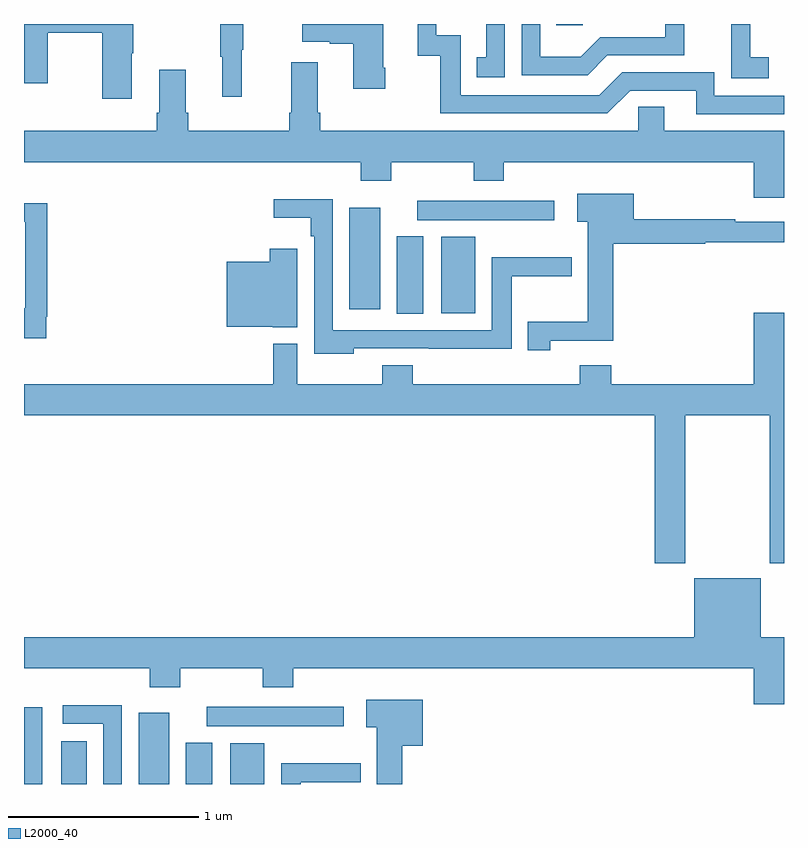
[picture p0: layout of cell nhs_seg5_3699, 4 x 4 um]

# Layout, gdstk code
import gdstk
lib = gdstk.Library(unit=1e-6, precision=1e-09)
def R(c, l, rs):  # rectangles x0, y0, x1, y1
    for r in rs: c.add(gdstk.rectangle(r[:2], r[2:], *l))
def P(c, l, *ps):  # polygons
    for p in ps: c.add(gdstk.Polygon(p, *l))
L2000_40 = (2000, 40)

nhs_seg5_3699 = lib.new_cell('nhs_seg5_3699')
R(nhs_seg5_3699, L2000_40, [(329.195,874.799,329.329,875.023), (329.603,874.799,329.764,875.173), (329.852,874.799,329.992,875.017), (330.086,874.799,330.265,875.014), (329.961,875.102,330.682,875.206), (330.962,877.273,331.102,877.681), (331.196,877.277,331.375,877.678), (330.713,877.299,330.874,877.831), (331.071,877.766,331.792,877.87), (331.801,878.793,331.941,878.799)])
P(nhs_seg5_3699, L2000_40, [(332.92,878.623),(332.822,878.623),(332.822,878.799),(332.723,878.799),(332.723,878.719),(332.722,878.719),(332.722,878.513),(332.92,878.513)],
  [(333,878.421),(332.634,878.421),(332.634,878.544),(332.148,878.544),(332.028,878.424),(331.299,878.424),(331.299,878.739),(331.17,878.739),(331.17,878.799),(331.073,878.799),(331.073,878.631),(331.191,878.631),(331.191,878.328),(332.07,878.328),(332.19,878.448),(332.537,878.448),(332.537,878.325),(333,878.325)],
  [(330.146,878.664),(330.154,878.664),(330.154,878.799),(330.033,878.799),(330.033,878.627),(330.044,878.627),(330.044,878.415),(330.146,878.415)],
  [(332.071,878.634),(332.475,878.634),(332.475,878.799),(332.376,878.799),(332.376,878.73),(332.034,878.73),(331.93,878.626),(331.716,878.626),(331.716,878.799),(331.62,878.799),(331.62,878.529),(331.966,878.529)],
  [(329.566,878.644),(329.574,878.644),(329.574,878.799),(329,878.799),(329,878.487),(329.124,878.487),(329.124,878.752),(329.413,878.752),(329.413,878.406),(329.566,878.406)],
  [(330.9,878.569),(330.892,878.569),(330.892,878.799),(330.465,878.799),(330.465,878.705),(330.608,878.705),(330.608,878.695),(330.734,878.695),(330.734,878.457),(330.9,878.457)],
  [(331.53,878.799),(331.433,878.799),(331.433,878.625),(331.384,878.625),(331.384,878.52),(331.53,878.52)],
  [(333,878.236),(332.371,878.236),(332.371,878.363),(332.232,878.363),(332.232,878.236),(330.56,878.236),(330.56,878.332),(330.547,878.332),(330.547,878.599),(330.407,878.599),(330.407,878.332),(330.395,878.332),(330.395,878.236),(329.864,878.236),(329.864,878.332),(329.851,878.332),(329.851,878.557),(329.711,878.557),(329.711,878.332),(329.699,878.332),(329.699,878.236),(329,878.236),(329,878.072),(330.773,878.072),(330.773,877.973),(330.933,877.973),(330.933,878.072),(331.366,878.072),(331.366,877.973),(331.526,877.973),(331.526,878.072),(332.84,878.072),(332.84,877.884),(333,877.884)],
  [(331.77,877.133),(332.102,877.133),(332.102,877.642),(332.585,877.642),(332.585,877.65),(333,877.65),(333,877.758),(332.744,877.758),(332.744,877.771),(332.209,877.771),(332.209,877.906),(331.911,877.906),(331.911,877.757),(331.967,877.757),(331.967,877.233),(331.652,877.233),(331.652,877.083),(331.77,877.083)],
  [(330.735,877.092),(331.129,877.092),(331.129,877.091),(331.567,877.091),(331.567,877.471),(331.882,877.471),(331.882,877.571),(331.463,877.571),(331.463,877.188),(330.624,877.188),(330.624,877.877),(330.315,877.877),(330.315,877.778),(330.508,877.778),(330.508,877.682),(330.528,877.682),(330.528,877.064),(330.735,877.064)],
  [(329.116,877.258),(329.123,877.258),(329.123,877.856),(329,877.856),(329,877.758),(329.007,877.758),(329.007,877.302),(329,877.302),(329,877.146),(329.116,877.146)],
  [(330.439,877.615),(330.293,877.615),(330.293,877.549),(330.068,877.549),(330.068,877.205),(330.309,877.205),(330.309,877.202),(330.439,877.202)],
  [(332.481,876.74),(332.926,876.74),(332.926,875.961),(333,875.961),(333,877.279),(332.84,877.279),(332.84,876.904),(332.09,876.904),(332.09,877.003),(331.925,877.003),(331.925,876.904),(331.046,876.904),(331.046,877.003),(330.886,877.003),(330.886,876.904),(330.439,876.904),(330.439,877.117),(330.311,877.117),(330.311,876.904),(329,876.904),(329,876.74),(332.321,876.74),(332.321,875.961),(332.481,875.961)],
  [(333,875.572),(332.878,875.572),(332.878,875.881),(332.528,875.881),(332.528,875.572),(329,875.572),(329,875.408),(329.663,875.408),(329.663,875.309),(329.823,875.309),(329.823,875.408),(330.256,875.408),(330.256,875.309),(330.416,875.309),(330.416,875.408),(332.84,875.408),(332.84,875.22),(333,875.22)],
  [(330.992,875),(331.099,875),(331.099,875.242),(330.801,875.242),(330.801,875.098),(330.857,875.098),(330.857,874.799),(330.992,874.799)],
  [(329.514,875.213),(329.205,875.213),(329.205,875.115),(329.418,875.115),(329.418,874.799),(329.514,874.799)],
  [(329.097,875.203),(329,875.203),(329,875.103),(329.001,875.103),(329.001,874.799),(329.097,874.799)],
  [(330.457,874.807),(330.772,874.807),(330.772,874.907),(330.353,874.907),(330.353,874.799),(330.457,874.799)])

lib.write_gds('nhs_seg5_3699.gds')
